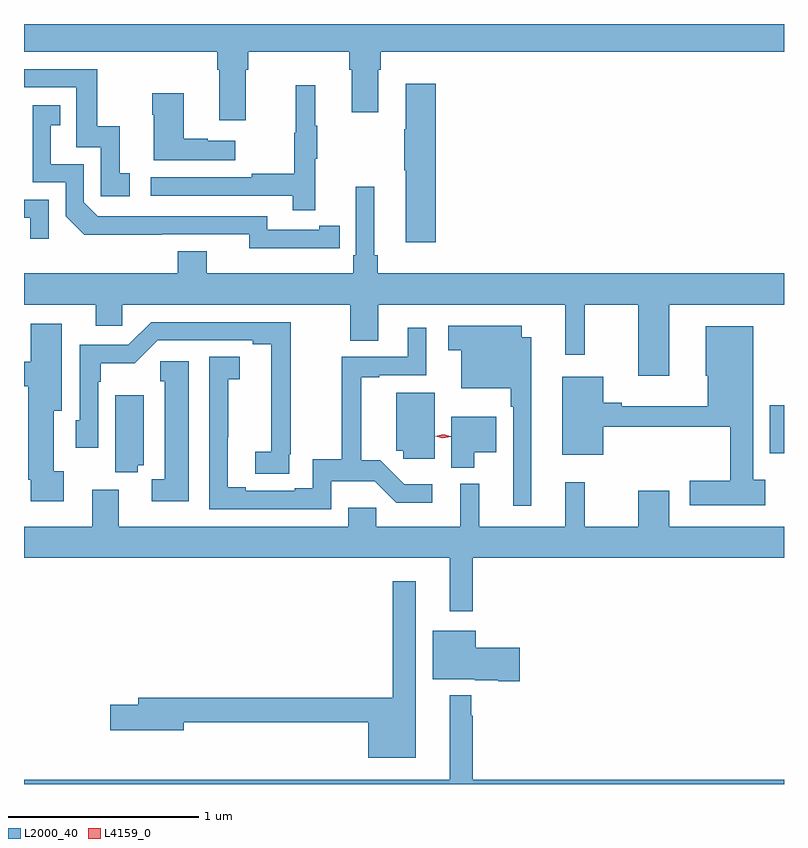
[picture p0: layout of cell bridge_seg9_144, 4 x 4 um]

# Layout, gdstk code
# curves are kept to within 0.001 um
import gdstk
lib = gdstk.Library(unit=1e-6, precision=1e-09)
def R(c, l, rs):  # rectangles x0, y0, x1, y1
    for r in rs: c.add(gdstk.rectangle(r[:2], r[2:], *l))
def P(c, l, *ps):  # polygons
    for p in ps: c.add(gdstk.Polygon(p, *l))
L2000_40 = (2000, 40)
L4159_0 = (4159, 0)

bridge_seg9_144 = lib.new_cell('bridge_seg9_144')
R(bridge_seg9_144, L2000_40, [(585.281,1227.605,585.355,1227.859)])
P(bridge_seg9_144, L2000_40, [(581.355,1229.72),(582.371,1229.72),(582.371,1229.624),(582.383,1229.624),(582.383,1229.358),(582.523,1229.358),(582.523,1229.624),(582.536,1229.624),(582.536,1229.72),(583.067,1229.72),(583.067,1229.624),(583.079,1229.624),(583.079,1229.4),(583.219,1229.4),(583.219,1229.624),(583.232,1229.624),(583.232,1229.72),(585.355,1229.72),(585.355,1229.865),(581.355,1229.865)],
  [(581.911,1229.079),(581.858,1229.079),(581.858,1229.326),(581.74,1229.326),(581.74,1229.628),(581.355,1229.628),(581.355,1229.532),(581.631,1229.532),(581.631,1229.217),(581.76,1229.217),(581.76,1228.959),(581.911,1228.959)],
  [(583.523,1229.551),(583.364,1229.551),(583.364,1229.312),(583.357,1229.312),(583.357,1229.095),(583.364,1229.095),(583.364,1228.716),(583.523,1228.716)],
  [(582.887,1229.155),(582.898,1229.155),(582.898,1229.329),(582.887,1229.329),(582.887,1229.542),(582.784,1229.542),(582.784,1229.292),(582.777,1229.292),(582.777,1229.078),(582.553,1229.078),(582.553,1229.058),(582.021,1229.058),(582.021,1228.962),(582.769,1228.962),(582.769,1228.884),(582.887,1228.884)],
  [(582.466,1229.251),(582.323,1229.251),(582.323,1229.261),(582.196,1229.261),(582.196,1229.5),(582.031,1229.5),(582.031,1229.387),(582.038,1229.387),(582.038,1229.147),(582.466,1229.147)],
  [(582.908,1228.686),(583.016,1228.686),(583.016,1228.802),(582.908,1228.802),(582.908,1228.782),(582.636,1228.782),(582.636,1228.854),(581.742,1228.854),(581.67,1228.926),(581.67,1229.127),(581.497,1229.127),(581.497,1229.331),(581.546,1229.331),(581.546,1229.437),(581.4,1229.437),(581.4,1229.031),(581.574,1229.031),(581.574,1228.854),(581.672,1228.757),(582.54,1228.758),(582.54,1228.685)],
  [(584.752,1228.388),(585.355,1228.388),(585.355,1228.552),(583.217,1228.552),(583.217,1228.648),(583.198,1228.648),(583.198,1229.008),(583.101,1229.008),(583.101,1228.648),(583.088,1228.648),(583.088,1228.552),(582.316,1228.552),(582.316,1228.669),(582.164,1228.669),(582.164,1228.552),(581.355,1228.552),(581.355,1228.388),(581.732,1228.388),(581.732,1228.278),(581.871,1228.278),(581.871,1228.388),(583.072,1228.388),(583.072,1228.198),(583.219,1228.198),(583.219,1228.388),(584.203,1228.388),(584.203,1228.125),(584.306,1228.125),(584.306,1228.388),(584.588,1228.388),(584.588,1228.014),(584.752,1228.014)],
  [(581.484,1228.941),(581.355,1228.941),(581.355,1228.845),(581.387,1228.845),(581.387,1228.734),(581.484,1228.734)],
  [(582.752,1227.601),(582.758,1227.601),(582.758,1228.296),(582.024,1228.296),(581.904,1228.176),(581.649,1228.176),(581.649,1227.78),(581.628,1227.78),(581.628,1227.636),(581.745,1227.636),(581.745,1227.983),(581.758,1227.983),(581.758,1228.079),(581.939,1228.079),(582.06,1228.2),(582.56,1228.2),(582.56,1228.18),(582.656,1228.18),(582.655,1227.614),(582.573,1227.614),(582.573,1227.499),(582.752,1227.499)],
  [(581.563,1227.51),(581.512,1227.51),(581.512,1227.83),(581.554,1227.83),(581.554,1228.288),(581.39,1228.288),(581.39,1228.087),(581.355,1228.087),(581.355,1227.958),(581.378,1227.958),(581.378,1227.466),(581.39,1227.466),(581.39,1227.354),(581.563,1227.354)],
  [(584.026,1228.216),(583.975,1228.216),(583.975,1228.276),(583.587,1228.276),(583.587,1228.147),(583.655,1228.147),(583.655,1227.947),(583.917,1227.947),(583.917,1227.851),(583.929,1227.851),(583.929,1227.33),(584.026,1227.33)],
  [(585.256,1227.467),(585.193,1227.467),(585.193,1228.273),(584.942,1228.273),(584.942,1228.014),(584.954,1228.014),(584.954,1227.853),(584.5,1227.853),(584.5,1227.872),(584.404,1227.872),(584.404,1228.009),(584.189,1228.009),(584.189,1227.599),(584.404,1227.599),(584.404,1227.744),(585.072,1227.744),(585.072,1227.462),(584.859,1227.462),(584.859,1227.332),(585.256,1227.332)],
  [(582.972,1227.458),(583.201,1227.458),(583.314,1227.345),(583.504,1227.345),(583.504,1227.442),(583.355,1227.442),(583.229,1227.568),(583.13,1227.568),(583.13,1228.005),(583.225,1228.005),(583.225,1228.017),(583.473,1228.017),(583.473,1228.267),(583.376,1228.267),(583.376,1228.113),(583.027,1228.113),(583.027,1227.575),(582.876,1227.575),(582.876,1227.422),(582.779,1227.422),(582.779,1227.408),(582.523,1227.408),(582.523,1227.428),(582.427,1227.428),(582.427,1227.691),(582.429,1227.691),(582.429,1227.995),(582.49,1227.995),(582.49,1228.115),(582.33,1228.115),(582.33,1227.312),(582.972,1227.312)],
  [(582.223,1228.09),(582.073,1228.09),(582.073,1227.984),(582.095,1227.984),(582.095,1227.468),(582.027,1227.468),(582.027,1227.353),(582.223,1227.353)],
  [(583.516,1227.925),(583.313,1227.925),(583.313,1227.62),(583.35,1227.62),(583.35,1227.578),(583.516,1227.578)],
  [(581.954,1227.542),(581.986,1227.542),(581.986,1227.91),(581.834,1227.91),(581.834,1227.505),(581.954,1227.505)],
  [(583.726,1227.611),(583.84,1227.611),(583.84,1227.799),(583.604,1227.799),(583.604,1227.53),(583.726,1227.53)],
  [(583.595,1226.775),(583.717,1226.775),(583.717,1227.056),(585.355,1227.056),(585.355,1227.22),(584.752,1227.22),(584.752,1227.409),(584.588,1227.409),(584.588,1227.22),(584.306,1227.22),(584.306,1227.454),(584.204,1227.454),(584.204,1227.22),(583.751,1227.22),(583.751,1227.445),(583.652,1227.445),(583.652,1227.22),(583.208,1227.22),(583.208,1227.318),(583.061,1227.318),(583.061,1227.22),(581.854,1227.22),(581.854,1227.415),(581.714,1227.415),(581.714,1227.22),(581.355,1227.22),(581.355,1227.056),(583.595,1227.056)],
  [(583.417,1226.932),(583.296,1226.932),(583.296,1226.318),(581.957,1226.318),(581.957,1226.282),(581.808,1226.282),(581.808,1226.147),(582.196,1226.147),(582.196,1226.19),(583.166,1226.19),(583.166,1226.003),(583.417,1226.003)],
  [(583.963,1226.583),(583.732,1226.583),(583.732,1226.671),(583.505,1226.671),(583.505,1226.417),(583.728,1226.417),(583.728,1226.411),(583.85,1226.411),(583.85,1226.405),(583.963,1226.405)],
  [(585.355,1225.888),(583.717,1225.888),(583.717,1226.225),(583.709,1226.225),(583.709,1226.332),(583.595,1226.332),(583.595,1225.888),(581.355,1225.888),(581.355,1225.865),(585.355,1225.865)])
P(bridge_seg9_144, L4159_0, [(583.56,1227.685),(583.52,1227.696),(583.52,1227.696),(583.52,1227.696),(583.561,1227.705),(583.601,1227.694),(583.601,1227.693),(583.601,1227.693)])

lib.write_gds('bridge_seg9_144.gds')
